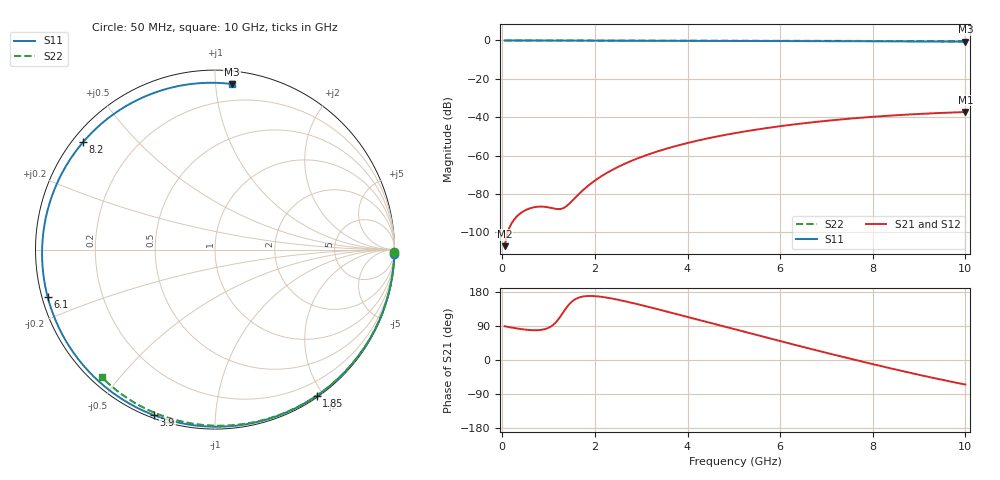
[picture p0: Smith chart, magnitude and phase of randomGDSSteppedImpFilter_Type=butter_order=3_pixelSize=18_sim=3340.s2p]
! freq	dB(S11)	phase(S11)	dB(S12)	phase(S12)
!  dB(S21)	phase(S21)	dB(S22)	phase(S22)
!S-par simulation data
#  GHz  S  DB  R 50
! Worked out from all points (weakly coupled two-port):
!   200 points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, 50 MHz to 10 GHz, reference 50 ohm
!   highest |S21| = -37.32 dB at 10 GHz (marker M1); lowest = -107.3 dB at 50 MHz (marker M2)
!   lowest |S11| = -0.7 dB at 10 GHz (marker M3), VSWR 26.51, Z = 4.2 + j55.2 ohm
!   |S11| at or under -10 dB: nowhere
!   |S22| runs from -0.4 to 0.0 dB; largest |S21 - S12| = 0
!   S11 on the Smith chart (normalised r, x): 50 MHz: 0, -74; 1.85 GHz: 0.02, -1.91; 3.9 GHz: 0.01, -0.70; 6.1 GHz: 0.02, -0.14; 8.2 GHz: 0.03, +0.36; 10 GHz: 0.08, +1.10
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0.05  -0.00 -1.5  -107.25 89.1  -107.25 89.1  -0.00 -0.8
0.8  -0.03 -24.4  -86.64 78.9  -86.64 78.9  -0.02 -12.1
1.65  -0.06 -49.5  -80.17 164.6  -80.17 164.6  -0.03 -24.8
1.75  -0.07 -52.4  -77.89 167.7  -77.89 167.7  -0.03 -26.2
1.85  -0.07 -55.2  -75.82 168.9  -75.82 168.9  -0.04 -27.7
2.15  -0.08 -63.7  -70.62 166.6  -70.62 166.6  -0.04 -32.1
2.5  -0.09 -73.4  -65.93 159.0  -65.93 159.0  -0.05 -37.2
2.9  -0.11 -84.2  -61.69 147.9  -61.69 147.9  -0.06 -42.9
3.4  -0.12 -97.4  -57.47 132.6  -57.47 132.6  -0.07 -50.0
3.9  -0.14 -110.2  -54.07 116.8  -54.07 116.8  -0.08 -56.9
4.45  -0.17 -123.9  -50.99 99.1  -50.99 99.1  -0.09 -64.4
5.05  -0.20 -138.6  -48.20 79.9  -48.20 79.9  -0.11 -72.3
5.6  -0.24 -151.9  -46.06 62.4  -46.06 62.4  -0.13 -79.4
6.1  -0.27 -164.2  -44.38 46.7  -44.38 46.7  -0.15 -85.8
6.7  -0.32 -179.1  -42.66 28.1  -42.66 28.1  -0.18 -93.2
7.45  -0.39 161.5  -40.88 5.4  -40.88 5.4  -0.22 -102.3
8.2  -0.46 140.9  -39.46 -16.7  -39.46 -16.7  -0.28 -111.1
8.35  -0.48 136.5  -39.22 -21.0  -39.22 -21.0  -0.29 -112.8
8.8  -0.53 123.1  -38.57 -33.6  -38.57 -33.6  -0.32 -118.0
9.25  -0.57 109.1  -38.03 -45.8  -38.03 -45.8  -0.37 -123.2
9.65  -0.62 96.0  -37.62 -56.1  -37.62 -56.1  -0.41 -127.7
10  -0.66 84.1  -37.32 -64.7  -37.32 -64.7  -0.44 -131.7
